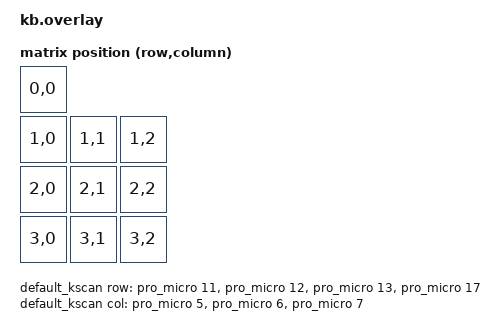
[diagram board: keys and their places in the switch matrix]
#include <dt-bindings/zmk/matrix_transform.h>

/ {
    chosen {
        zmk,kscan = &default_kscan;
        zmk,matrix-transform = &default_transform;
    };

    default_kscan: kscan {
        compatible = "zmk,kscan-gpio-matrix";
        label = "default_kscan";
        diode-direction = "col2row";

        row-gpios = <
            &pro_micro 11 (GPIO_ACTIVE_LOW | GPIO_PULL_UP)
            &pro_micro 12 (GPIO_ACTIVE_LOW | GPIO_PULL_UP)
            &pro_micro 13 (GPIO_ACTIVE_LOW | GPIO_PULL_UP)
            &pro_micro 17 (GPIO_ACTIVE_LOW | GPIO_PULL_UP)
        >;

        col-gpios = <
            &pro_micro 5 GPIO_ACTIVE_LOW
            &pro_micro 6 GPIO_ACTIVE_LOW
            &pro_micro 7 GPIO_ACTIVE_LOW
        >;
    };

    default_transform: matrix_transform_0 {
        compatible = "zmk,matrix-transform";
        rows = <4>;
        columns = <3>;

        map = <
            RC(0,0)
            RC(1,0) RC(1,1) RC(1,2)
            RC(2,0) RC(2,1) RC(2,2)
            RC(3,0) RC(3,1) RC(3,2)
        >;
    };
};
